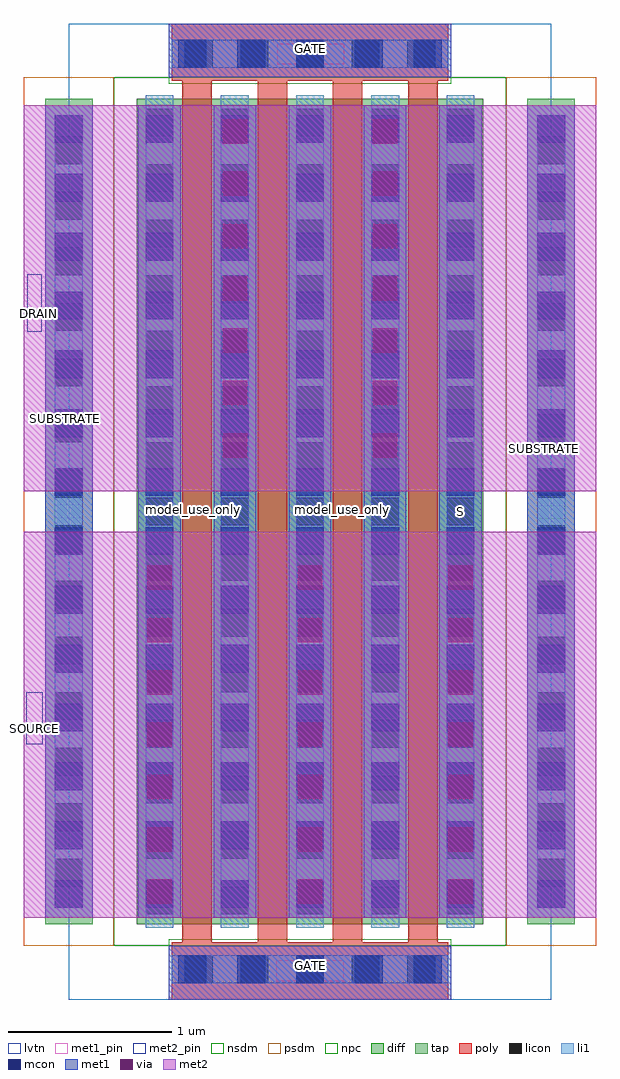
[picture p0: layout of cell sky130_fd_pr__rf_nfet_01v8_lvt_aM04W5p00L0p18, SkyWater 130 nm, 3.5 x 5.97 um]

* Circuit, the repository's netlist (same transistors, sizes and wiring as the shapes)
* Copyright 2020 The SkyWater PDK Authors
*
* Licensed under the Apache License, Version 2.0 (the "License");
* you may not use this file except in compliance with the License.
* You may obtain a copy of the License at
*
*     https://www.apache.org/licenses/LICENSE-2.0
*
* Unless required by applicable law or agreed to in writing, software
* distributed under the License is distributed on an "AS IS" BASIS,
* WITHOUT WARRANTIES OR CONDITIONS OF ANY KIND, either express or implied.
* See the License for the specific language governing permissions and
* limitations under the License.
*
* SPDX-License-Identifier: Apache-2.0


.subckt sky130_fd_pr__rf_nfet_01v8_lvt_aM04W5p00L0p18 DRAIN GATE SOURCE SUBSTRATE
X0 SOURCE GATE DRAIN SUBSTRATE sky130_fd_pr__nfet_01v8_lvt w=5.05e+06u l=180000u
X1 SOURCE GATE DRAIN SUBSTRATE sky130_fd_pr__nfet_01v8_lvt w=5.05e+06u l=180000u
X2 DRAIN GATE SOURCE SUBSTRATE sky130_fd_pr__nfet_01v8_lvt w=5.05e+06u l=180000u
X3 DRAIN GATE SOURCE SUBSTRATE sky130_fd_pr__nfet_01v8_lvt w=5.05e+06u l=180000u
.ends

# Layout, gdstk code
import gdstk
lib = gdstk.Library(unit=1e-6, precision=1e-09)
def R(c, l, rs):  # rectangles x0, y0, x1, y1
    for r in rs: c.add(gdstk.rectangle(r[:2], r[2:], *l))
def A(c, l, x, y, w, h, nx, ny, dx, dy):  # array of equal rectangles
    R(c, l, [(x+i*dx, y+j*dy, x+i*dx+w, y+j*dy+h) for i in range(nx) for j in range(ny)])
diff = (65, 20)
tap = (65, 44)
poly = (66, 20)
licon = (66, 44)
li1 = (67, 20)
mcon = (67, 44)
met1_pin = (68, 16)
met1 = (68, 20)
via = (68, 44)
met2_pin = (69, 16)
met2 = (69, 20)
nsdm = (93, 44)
psdm = (94, 20)
npc = (95, 20)
lvtn = (125, 44)

sky130_fd_pr__rf_nfet_01 = lib.new_cell('sky130_fd_pr__rf_nfet_01v8_lvt_aM04W5p00L0p18')
R(sky130_fd_pr__rf_nfet_01, diff, [(0.69,0.46,2.81,5.51)])
R(sky130_fd_pr__rf_nfet_01, tap, [(0.13,0.46,0.42,5.51), (3.08,0.46,3.37,5.51)])
A(sky130_fd_pr__rf_nfet_01, poly, 0.97, 0.35, 0.18, 5.27, 4, 1, 0.46, 0)
R(sky130_fd_pr__rf_nfet_01, poly, [(0.905,0,2.595,0.35), (0.905,5.62,2.595,5.97)])
A(sky130_fd_pr__rf_nfet_01, licon, 0.985, 0.1, 0.17, 0.17, 5, 2, 0.34, 5.6)
A(sky130_fd_pr__rf_nfet_01, licon, 0.745, 0.52, 0.17, 0.17, 5, 15, 0.46, 0.34)
A(sky130_fd_pr__rf_nfet_01, licon, 0.19, 0.69, 0.17, 0.17, 1, 14, 0, 0.34)
A(sky130_fd_pr__rf_nfet_01, licon, 3.14, 0.69, 0.17, 0.17, 1, 14, 0, 0.34)
A(sky130_fd_pr__rf_nfet_01, li1, 0.745, 0.44, 0.17, 5.09, 5, 1, 0.46, 0)
A(sky130_fd_pr__rf_nfet_01, li1, 0.745, 1.64, 0.17, 2.69, 5, 1, 0.46, 0)
R(sky130_fd_pr__rf_nfet_01, li1, [(0.905,0.1,2.595,0.27), (0.945,0.1,2.555,0.27), (0.19,0.56,0.36,5.41), (3.14,0.56,3.31,5.41), (0.19,0.61,0.36,5.36), (3.14,0.61,3.31,5.36), (0.19,1.63,0.36,4.34), (3.14,1.63,3.31,4.34), (0.905,5.7,2.595,5.87), (0.945,5.7,2.555,5.87)])
A(sky130_fd_pr__rf_nfet_01, mcon, 0.945, 0.1, 0.17, 0.17, 5, 2, 0.36, 5.6)
A(sky130_fd_pr__rf_nfet_01, mcon, 0.19, 0.56, 0.17, 0.17, 1, 14, 0, 0.36)
A(sky130_fd_pr__rf_nfet_01, mcon, 0.745, 0.56, 0.17, 0.17, 5, 14, 0.46, 0.36)
A(sky130_fd_pr__rf_nfet_01, mcon, 3.14, 0.56, 0.17, 0.17, 1, 14, 0, 0.36)
R(sky130_fd_pr__rf_nfet_01, met1_pin, [(1.545,0.115,1.955,0.24), (3.14,2.94,3.31,3.02), (0.19,2.945,0.36,3.025), (1.55,5.72,1.96,5.845)])
A(sky130_fd_pr__rf_nfet_01, met1, 0.7, 0.5, 0.26, 2.24, 3, 1, 0.92, 0)
A(sky130_fd_pr__rf_nfet_01, met1, 0.7, 0.5, 0.26, 4.97, 5, 1, 0.46, 0)
R(sky130_fd_pr__rf_nfet_01, met1, [(0.885,0,2.615,0.33), (0.13,0.5,0.42,5.47), (3.08,0.5,3.37,5.47), (1.16,3.23,1.42,5.47), (2.08,3.23,2.34,5.47), (0.885,5.64,2.615,5.97)])
A(sky130_fd_pr__rf_nfet_01, via, 0.755, 0.585, 0.15, 0.15, 3, 7, 0.92, 0.32)
A(sky130_fd_pr__rf_nfet_01, via, 1.215, 3.315, 0.15, 0.15, 1, 7, 0, 0.32)
A(sky130_fd_pr__rf_nfet_01, via, 2.135, 3.315, 0.15, 0.15, 1, 7, 0, 0.32)
R(sky130_fd_pr__rf_nfet_01, met2_pin, [(0.015,1.56,0.115,1.88), (0.02,4.085,0.11,4.435)])
A(sky130_fd_pr__rf_nfet_01, met2, 0.7, 0.5, 0.26, 2.24, 3, 1, 0.92, 0)
R(sky130_fd_pr__rf_nfet_01, met2, [(0,0.5,3.5,2.86), (0,3.11,3.5,5.47), (1.16,3.23,1.42,5.47), (2.08,3.23,2.34,5.47)])
R(sky130_fd_pr__rf_nfet_01, nsdm, [(0.55,0.33,2.95,5.64)])
R(sky130_fd_pr__rf_nfet_01, psdm, [(0,0.33,0.55,5.64), (2.95,0.33,3.5,5.64)])
R(sky130_fd_pr__rf_nfet_01, npc, [(0.885,0,2.615,0.37), (0.885,5.6,2.615,5.97)])
R(sky130_fd_pr__rf_nfet_01, lvtn, [(0.275,0,3.225,5.97)])
sky130_fd_pr__rf_nfet_01.add(gdstk.Label('model_use_only', (1.035,3), layer=66, texttype=83))
sky130_fd_pr__rf_nfet_01.add(gdstk.Label('model_use_only', (1.495,3), layer=66, texttype=83))
sky130_fd_pr__rf_nfet_01.add(gdstk.Label('model_use_only', (1.95,3), layer=66, texttype=83))
sky130_fd_pr__rf_nfet_01.add(gdstk.Label('model_use_only', (2.415,3), layer=66, texttype=83))
sky130_fd_pr__rf_nfet_01.add(gdstk.Label('S', (1.75,2.985), layer=83, texttype=44))
sky130_fd_pr__rf_nfet_01.add(gdstk.Label('S', (1.75,2.985), layer=83, texttype=44))
sky130_fd_pr__rf_nfet_01.add(gdstk.Label('S', (2.21,2.985), layer=83, texttype=44))
sky130_fd_pr__rf_nfet_01.add(gdstk.Label('D', (2.21,2.985), layer=83, texttype=44))
sky130_fd_pr__rf_nfet_01.add(gdstk.Label('S', (2.67,2.985), layer=83, texttype=44))
sky130_fd_pr__rf_nfet_01.add(gdstk.Label('S', (0.83,2.985), layer=83, texttype=44))
sky130_fd_pr__rf_nfet_01.add(gdstk.Label('S', (0.83,2.985), layer=83, texttype=44))
sky130_fd_pr__rf_nfet_01.add(gdstk.Label('D', (1.29,2.985), layer=83, texttype=44))
sky130_fd_pr__rf_nfet_01.add(gdstk.Label('S', (1.29,2.985), layer=83, texttype=44))
sky130_fd_pr__rf_nfet_01.add(gdstk.Label('SUBSTRATE', (3.185,3.37), layer=68, texttype=5))
sky130_fd_pr__rf_nfet_01.add(gdstk.Label('GATE', (1.75,0.205), layer=68, texttype=5))
sky130_fd_pr__rf_nfet_01.add(gdstk.Label('GATE', (1.755,5.82), layer=68, texttype=5))
sky130_fd_pr__rf_nfet_01.add(gdstk.Label('SUBSTRATE', (0.255,3.555), layer=68, texttype=5))
sky130_fd_pr__rf_nfet_01.add(gdstk.Label('DRAIN', (0.09,4.195), layer=69, texttype=5))
sky130_fd_pr__rf_nfet_01.add(gdstk.Label('SOURCE', (0.065,1.66), layer=69, texttype=5))

lib.write_gds('sky130_fd_pr__rf_nfet_01v8_lvt_aM04W5p00L0p18.gds')
